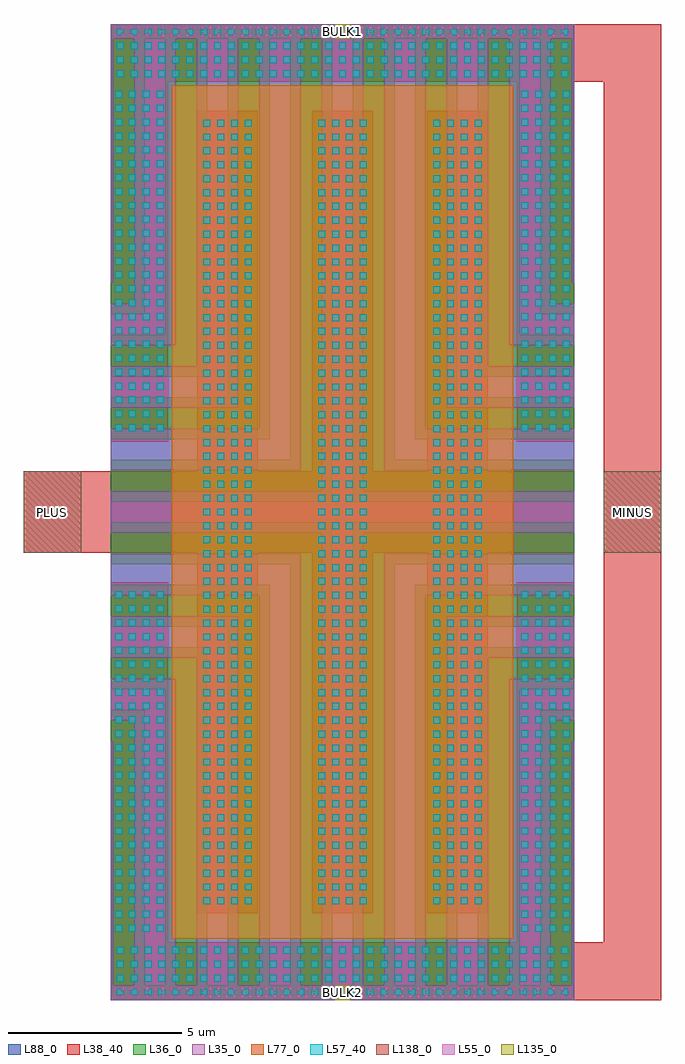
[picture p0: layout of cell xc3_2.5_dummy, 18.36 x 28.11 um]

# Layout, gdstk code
import gdstk
lib = gdstk.Library(unit=1e-6, precision=1e-09)
def R(c, l, rs):  # rectangles x0, y0, x1, y1
    for r in rs: c.add(gdstk.rectangle(r[:2], r[2:], *l))
def A(c, l, x, y, w, h, nx, ny, dx, dy):  # array of equal rectangles
    R(c, l, [(x+i*dx, y+j*dy, x+i*dx+w, y+j*dy+h) for i in range(nx) for j in range(ny)])
def P(c, l, *ps):  # polygons
    for p in ps: c.add(gdstk.Polygon(p, *l))
L35_0 = (35, 0)
L36_0 = (36, 0)
L38_40 = (38, 40)
L55_0 = (55, 0)
L57_40 = (57, 40)
L77_0 = (77, 0)
L88_0 = (88, 0)
L135_0 = (135, 0)
L138_0 = (138, 0)

xc3_2_5_dummy = lib.new_cell('xc3_2.5_dummy')
R(xc3_2_5_dummy, L35_0, [(-1.76,-1.76,-1.68,5.095), (-1.76,-1.76,11.6,-1.33), (-1.08,-1.76,0.12,6.895), (0.72,-1.76,1.92,8.695), (2.52,-1.76,3.72,10.495), (4.32,-1.76,5.52,26.35), (6.12,-1.76,7.32,10.495), (7.92,-1.76,9.12,8.695), (9.72,-1.76,10.92,6.895), (11.52,-1.76,11.6,5.095), (-1.76,4.495,-1.68,5.695), (11.52,4.495,11.6,5.695), (-1.76,6.295,0.12,7.495), (9.72,6.295,11.6,7.495), (-1.76,8.095,1.92,9.295), (7.92,8.095,11.6,9.295), (-1.76,9.895,3.72,11.095), (6.12,9.895,11.6,11.095), (-1.76,11.695,11.6,12.895), (-1.76,13.495,3.72,14.695), (6.12,13.495,11.6,14.695), (2.52,14.095,3.72,26.35), (6.12,14.095,7.32,26.35), (-1.76,15.295,1.92,16.495), (7.92,15.295,11.6,16.495), (0.72,15.895,1.92,26.35), (7.92,15.895,9.12,26.35), (-1.76,17.095,0.12,18.295), (9.72,17.095,11.6,18.295), (-1.08,17.695,0.12,26.35), (9.72,17.695,10.92,26.35), (-1.76,18.895,-1.68,20.095), (11.52,18.895,11.6,20.095), (-1.76,19.495,-1.68,26.35), (11.52,19.495,11.6,26.35), (-1.76,25.92,11.6,26.35)])
R(xc3_2_5_dummy, L36_0, [(-1.76,-1.76,-0.78,5.995), (-1.76,-1.76,11.6,-1.33), (-0.18,-1.76,1.02,7.795), (1.62,-1.76,2.82,9.595), (3.42,-1.76,4.62,11.395), (5.22,-1.76,6.42,11.395), (7.02,-1.76,8.22,9.595), (8.82,-1.76,10.02,7.795), (10.62,-1.76,11.6,5.995), (-1.76,5.395,-0.78,6.595), (10.62,5.395,11.6,6.595), (-1.76,7.195,1.02,8.395), (8.82,7.195,11.6,8.395), (-1.76,8.995,2.82,10.195), (7.02,8.995,11.6,10.195), (-1.76,10.795,4.62,11.995), (5.22,10.795,11.6,11.995), (-1.76,12.595,4.62,13.795), (5.22,12.595,11.6,13.795), (3.42,13.195,4.62,26.35), (5.22,13.195,6.42,26.35), (-1.76,14.395,2.82,15.595), (7.02,14.395,11.6,15.595), (1.62,14.995,2.82,26.35), (7.02,14.995,8.22,26.35), (-1.76,16.195,1.02,17.395), (8.82,16.195,11.6,17.395), (-0.18,16.795,1.02,26.35), (8.82,16.795,10.02,26.35), (-1.76,17.995,-0.78,19.195), (10.62,17.995,11.6,19.195), (-1.76,18.595,-0.78,26.35), (10.62,18.595,11.6,26.35), (-1.76,25.92,11.6,26.35)])
A(xc3_2_5_dummy, L38_40, 0.74, 0.74, 1.74, 10.375, 3, 1, 3.31, 0)
R(xc3_2_5_dummy, L38_40, [(11.6,-1.76,14.1,-0.1), (12.44,-1.76,14.1,26.35), (-4.26,11.115,11.6,13.475), (0.74,13.475,2.48,23.85), (0.74,13.475,2.48,23.85), (4.05,13.475,5.79,23.85), (4.05,13.475,5.79,23.85), (7.36,13.475,9.1,23.85), (7.36,13.475,9.1,23.85), (11.6,24.69,14.1,26.35)])
P(xc3_2_5_dummy, L38_40, [(-0.1,24.69),(9.94,24.69),(9.94,14.315),(11.6,14.315),(11.6,26.35),(-1.76,26.35),(-1.76,14.315),(-0.1,14.315)],
  [(-1.76,10.275),(-1.76,-1.76),(11.6,-1.76),(11.6,10.275),(9.94,10.275),(9.94,-0.1),(-0.1,-0.1),(-0.1,10.275)])
A(xc3_2_5_dummy, L55_0, -1.685, -1.71, 0.1, 0.1, 58, 2, 0.23, 0.23)
A(xc3_2_5_dummy, L55_0, -1.685, 25.97, 0.1, 0.1, 58, 2, 0.23, 0.23)
A(xc3_2_5_dummy, L57_40, -1.58, -1.63, 0.2, 0.2, 33, 4, 0.4, 0.4)
A(xc3_2_5_dummy, L57_40, -1.63, 0.207, 0.2, 0.2, 4, 17, 0.4, 0.4)
A(xc3_2_5_dummy, L57_40, 10.07, 0.207, 0.2, 0.2, 4, 17, 0.4, 0.4)
A(xc3_2_5_dummy, L57_40, 0.91, 0.995, 0.2, 0.2, 4, 57, 0.4, 0.4)
A(xc3_2_5_dummy, L57_40, 4.22, 0.995, 0.2, 0.2, 4, 57, 0.4, 0.4)
A(xc3_2_5_dummy, L57_40, 7.53, 0.995, 0.2, 0.2, 4, 57, 0.4, 0.4)
A(xc3_2_5_dummy, L57_40, -1.63, 7.007, 0.2, 0.201, 4, 1, 0.4, 0)
A(xc3_2_5_dummy, L57_40, 10.07, 7.007, 0.2, 0.201, 4, 1, 0.4, 0)
A(xc3_2_5_dummy, L57_40, -1.63, 7.408, 0.2, 0.2, 4, 2, 0.4, 0.8)
A(xc3_2_5_dummy, L57_40, 10.07, 7.408, 0.2, 0.2, 4, 2, 0.4, 0.8)
A(xc3_2_5_dummy, L57_40, -1.63, 7.808, 0.2, 0.199, 4, 2, 0.4, 11.215)
A(xc3_2_5_dummy, L57_40, 10.07, 7.808, 0.2, 0.199, 4, 2, 0.4, 11.215)
A(xc3_2_5_dummy, L57_40, -1.63, 8.608, 0.2, 0.2, 4, 4, 0.4, 0.4)
A(xc3_2_5_dummy, L57_40, 10.07, 8.608, 0.2, 0.2, 4, 4, 0.4, 0.4)
A(xc3_2_5_dummy, L57_40, -1.63, 14.623, 0.2, 0.2, 4, 11, 0.4, 0.4)
A(xc3_2_5_dummy, L57_40, 10.07, 14.623, 0.2, 0.2, 4, 11, 0.4, 0.4)
A(xc3_2_5_dummy, L57_40, -1.63, 19.423, 0.2, 0.199, 4, 2, 0.4, 0.4)
A(xc3_2_5_dummy, L57_40, 10.07, 19.423, 0.2, 0.199, 4, 2, 0.4, 0.4)
A(xc3_2_5_dummy, L57_40, -1.63, 20.222, 0.2, 0.2, 4, 11, 0.4, 0.4)
A(xc3_2_5_dummy, L57_40, 10.07, 20.222, 0.2, 0.2, 4, 11, 0.4, 0.4)
A(xc3_2_5_dummy, L57_40, -1.58, 24.82, 0.2, 0.2, 33, 4, 0.4, 0.4)
R(xc3_2_5_dummy, L77_0, [(0,0,9.84,24.59)])
R(xc3_2_5_dummy, L88_0, [(-1.76,-1.76,11.6,26.35)])
R(xc3_2_5_dummy, L135_0, [(4.705,-1.76,5.135,-1.33), (4.705,25.92,5.135,26.35)])
R(xc3_2_5_dummy, L138_0, [(-4.26,11.115,-2.6,13.475), (12.44,11.115,14.1,13.475)])
xc3_2_5_dummy.add(gdstk.Label('BULK1', (4.92,26.135), layer=135, texttype=0))
xc3_2_5_dummy.add(gdstk.Label('BULK2', (4.92,-1.545), layer=135, texttype=0))
xc3_2_5_dummy.add(gdstk.Label('PLUS', (-3.43,12.295), layer=138, texttype=0))
xc3_2_5_dummy.add(gdstk.Label('MINUS', (13.27,12.295), layer=138, texttype=0))

lib.write_gds('xc3_2.5_dummy.gds')
